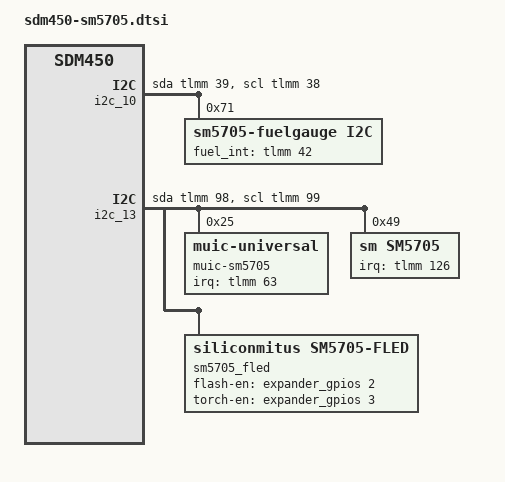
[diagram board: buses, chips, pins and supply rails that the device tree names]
/* Copyright (c) 2012, The Linux Foundation. All rights reserved.
 *
 * This program is free software; you can redistribute it and/or modify
 * it under the terms of the GNU General Public License version 2 and
 * only version 2 as published by the Free Software Foundation.
 *
 * This program is distributed in the hope that it will be useful,
 * but WITHOUT ANY WARRANTY; without even the implied warranty of
 * MERCHANTABILITY or FITNESS FOR A PARTICULAR PURPOSE.  See the
 * GNU General Public License for more details.
 */

&soc {
	i2c_10: i2c@10 {
		cell-index = <10>;
		compatible = "i2c-gpio";
		gpios = <&tlmm 39 0 /* sda */
			&tlmm 38 0 /* scl */
			>;
		#address-cells = <1>;
		#size-cells = <0>;

		sm5705-fuelgauge@71 {
			compatible = "sm5705-fuelgauge,i2c";
			reg = <0x71>;
			pinctrl-names = "default";
			/*pinctrl-0 = <&fuel_irq>;
			pinctrl-1 = <&sm5705_fg_i2c_active>;*/
			fuelgauge,fuel_int = <&tlmm 42 0>;
			fuelgauge,fuel_alert_soc = <1>;
			fuelgauge,capacity_max = <1000>;
			fuelgauge,capacity_max_margin = <70>;
			fuelgauge,capacity_min = <0>;
			fuelgauge,capacity_calculation_type = <0x1F>;
			fuelgauge,type_str = "BATTERY";
			fuelgauge,model_type = <1>;
			fuelgauge,fg_log_enable = <1>;
		};
	};

	i2c_13: i2c@13 {
		cell-index = <13>;
		compatible = "i2c-gpio";
		gpios = <&tlmm 98 0 /* sda */
			&tlmm 99 0	/* scl */
			>;
		i2c-gpio,delay-us = <2>;
		#address-cells = <1>;
		#size-cells = <0>;

		muic-sm5705@25 {
			status = "okay";
			compatible = "muic-universal";
			reg = <0x25>;
			interrupt-parent = <&tlmm>;
			interrupts = <63 0>;
			muic-universal,irq-gpio = <&tlmm 63 0x00>;
			sm5705,wakeup;
			muic-universal,chip_name = "sm,sm5705";
			muic-universal,afc-support = <1>;
			pinctrl-names = "muic_i2c_pins_default",
				"muic_i2c_pins_active",
				"muic_i2c_pins_suspend";
			pinctrl-0 = <&sm5705_i2c_default &sm5705_interrupt_default>;
			pinctrl-1 = <&sm5705_i2c_active &sm5705_interrupt_default >;
			pinctrl-2 = <&sm5705_i2c_suspend &sm5705_interrupt_default>;
		};

		sm5705@49{
			compatible = "sm,sm5705";
			reg = <0x49>;
			interrupt-parent = <&tlmm>;
			sm5705,irq-gpio = <&tlmm 126 0x00>;
			pinctrl-names = "default";
			pinctrl-0 = <&charger_int_active>;
		};
		sm5705_fled {
			compatible = "siliconmitus,sm5705-fled";
			enable = <1 1>;
			id = <0>;
			flash-mode-current-mA = <1000>;
			torch-mode-current-mA = <150>;
			preflash-mode-current-mA = <150>;
			used-gpio-control = <1>;
			flash-en-gpio = <&expander_gpios 2 0x00>;
			torch-en-gpio = <&expander_gpios 3 0x00>;
		};



	};
};

/ {
	muic {
		status = "okay";
		muic,support-list = "+OTG:GND",
					"-MHL:1K",
					"-VZW Accessory:28.7K",
					"-VZW Incompatible:34K",
					"-Smartdock:40.2K",
					"-HMT:49.9K",
					"-Audiodock:64.9K",
					"+USB LANHUB:80.07K",
					"+Charging Cable:102K",
					"+Universal Multimedia dock:121K",
					"+Jig USB Off:255K",
					"+Jig USB On:301K",
					"+Deskdock:365K",
					"+TYPE2 Charger:442K",
					"+Jig UART Off:523K",
					"+Jig UART On:619K",
					"+TA:OPEN",
					"+USB:OPEN",
					"+CDP:OPEN",
					"+Undefined Charging:XXX";
	};
};

